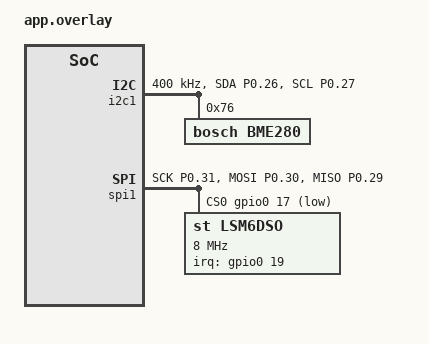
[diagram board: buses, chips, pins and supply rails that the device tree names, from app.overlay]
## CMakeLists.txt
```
# SPDX-License-Identifier: Apache-2.0
cmake_minimum_required(VERSION 3.20.0)

# Expose the custom BSP directory to Zephyr's board discovery mechanism.
# BOARD_ROOT tells west/cmake to search <BOARD_ROOT>/boards/ for board definitions.
# This allows: west build -b custom_sensor_node app
# Supported boards in this repo:
#   custom_sensor_node   — Production custom nRF52840 hardware
#   nrf52840dk_nrf52840  — Nordic DK (development fallback)
list(APPEND BOARD_ROOT ${CMAKE_CURRENT_SOURCE_DIR}/..)

# Locate Zephyr package via environment or west workspace
find_package(Zephyr REQUIRED HINTS $ENV{ZEPHYR_BASE})
project(nrf52840_ble_sensor_hub LANGUAGES C CXX)

# Target source files
target_sources(app PRIVATE
    src/main.c
    src/sensor_manager.c
    src/ble_service.c
    src/ota_manager.c
    src/crash_logger.c
    src/can_bridge.c
    ../drivers/custom_sensor_bme280.c
)

# Header search paths
target_include_directories(app PRIVATE
    ${CMAKE_CURRENT_SOURCE_DIR}/../include
    ${CMAKE_CURRENT_SOURCE_DIR}/../drivers
)

# Compiler warnings and optimization flags
target_compile_options(app PRIVATE
    -Wall
    -Wextra
    -Werror=implicit-function-declaration
    -Wno-unused-parameter
    -O2
)
```

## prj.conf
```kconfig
# ==============================================================================
# nRF52840 BLE Sensor Hub - Zephyr Kconfig Project Configuration
# Target Board: nrf52840dk_nrf52840 (Nordic Semiconductor)
# ==============================================================================

# --- System & Kernel Configuration ---
CONFIG_LOG=y
CONFIG_LOG_DEFAULT_LEVEL=3
CONFIG_LOG_BACKEND_RTT=y
CONFIG_USE_SEGGER_RTT=y
CONFIG_LOG_BACKEND_UART=n
CONFIG_ASSERT=y
CONFIG_REBOOT=y
CONFIG_HWINFO=y

# Thread and Stack Allocations
CONFIG_MAIN_STACK_SIZE=2048
CONFIG_SYSTEM_WORKQUEUE_STACK_SIZE=2048
CONFIG_IDLE_STACK_SIZE=512
CONFIG_HEAP_MEM_POOL_SIZE=4096
CONFIG_THREAD_NAME=y
CONFIG_THREAD_ANALYZER=y
CONFIG_THREAD_ANALYZER_AUTO=n

# Standard C / Printf Formatting
CONFIG_CBPRINTF_FP_SUPPORT=y
CONFIG_NEWLIB_LIBC=y

# --- Peripheral Hardware Drivers ---
CONFIG_GPIO=y
CONFIG_I2C=y
CONFIG_SPI=y
CONFIG_SENSOR=y

# Power Management (Ultra-Low-Power Optimization)
CONFIG_PM=y
CONFIG_PM_DEVICE=y

# --- Bluetooth Low Energy Subsystem ---
CONFIG_BT=y
CONFIG_BT_PERIPHERAL=y
CONFIG_BT_DEVICE_NAME="nRF52840_SensorHub"
CONFIG_BT_DEVICE_APPEARANCE=833
CONFIG_BT_MAX_CONN=1
CONFIG_BT_MAX_PAIRED=1
CONFIG_BT_SMP=y
CONFIG_BT_SIGNING=y
CONFIG_BT_GATT_CLIENT=n
CONFIG_BT_BUF_ACL_RX_SIZE=251
CONFIG_BT_BUF_ACL_TX_SIZE=251
CONFIG_BT_CTLR_DATA_LENGTH_MAX=251
CONFIG_BT_USER_PHY_UPDATE=y
CONFIG_BT_USER_DATA_LEN_UPDATE=y

# BLE Connection Parameters
CONFIG_BT_GAP_AUTO_UPDATE_CONN_PARAMS=y
CONFIG_BT_PERIPHERAL_PREF_MIN_INT=12
CONFIG_BT_PERIPHERAL_PREF_MAX_INT=40
CONFIG_BT_PERIPHERAL_PREF_LATENCY=0
CONFIG_BT_PERIPHERAL_PREF_TIMEOUT=400

# --- Flash, Storage & MCUboot DFU ---
CONFIG_FLASH=y
CONFIG_FLASH_PAGE_LAYOUT=y
CONFIG_FLASH_MAP=y
CONFIG_STREAM_FLASH=y
CONFIG_IMG_MANAGER=y
CONFIG_BOOTLOADER_MCUBOOT=y
CONFIG_MCUBOOT_IMG_MANAGER=y

# Watchdog Subsystem for Fail-Safe Supervision
CONFIG_WATCHDOG=y
CONFIG_WDT_DISABLE_AT_BOOT=n

# --- Non-Volatile Storage (NVS) for Crash Logger ---
CONFIG_NVS=y

# --- CAN Bus Subsystem ---
CONFIG_CAN=y
CONFIG_CAN_INIT_PRIORITY=80
```

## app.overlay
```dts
/*
 * SPDX-License-Identifier: Apache-2.0
 * Application Devicetree Overlay: app/app.overlay
 *
 * Target Board: custom_sensor_node (primary)
 *               nrf52840dk_nrf52840 (fallback for development kit)
 *
 * The custom_sensor_node board DTS already defines i2c1/bme280 and spi1/lsm6dso.
 * This overlay is a COMPATIBILITY layer for the nRF52840-DK dev kit only.
 *
 * When building for custom_sensor_node:
 *   west build -b custom_sensor_node app
 *   → Sensor nodes come from custom_sensor_node.dts; this overlay is a no-op.
 *
 * When building for nRF52840-DK (fallback):
 *   west build -b nrf52840dk_nrf52840 app
 *   → This overlay activates to wire the sensors onto the Arduino headers.
 */

/ {
	chosen {
		/*
		 * When using the nRF52840-DK, the RTT backend is still preferred.
		 * zephyr,console is NOT set here; RTT is selected entirely via Kconfig.
		 */
	};

	aliases {
		sensor-bme280  = &bme280;
		sensor-lsm6dso = &lsm6dso;
		led-status     = &led0;
		led-ble        = &led1;
	};
};

/* ---- Pin Control (nRF52840-DK Arduino header fallback) ----
 * Only activates when custom_sensor_node-pinctrl.dtsi is NOT already included.
 * On nRF52840-DK the pinctrl block is provided by the board DTS itself. */
&pinctrl {
	i2c1_default: i2c1_default {
		group1 {
			psels = <NRF_PSEL(TWIM_SDA, 0, 26)>,
			        <NRF_PSEL(TWIM_SCL, 0, 27)>;
			bias-pull-up;
		};
	};

	i2c1_sleep: i2c1_sleep {
		group1 {
			psels = <NRF_PSEL(TWIM_SDA, 0, 26)>,
			        <NRF_PSEL(TWIM_SCL, 0, 27)>;
			low-power-enable;
		};
	};

	spi1_default: spi1_default {
		group1 {
			psels = <NRF_PSEL(SPIM_SCK,  0, 31)>,
			        <NRF_PSEL(SPIM_MOSI, 0, 30)>;
		};
		group2 {
			psels = <NRF_PSEL(SPIM_MISO, 0, 29)>;
			bias-disable;
		};
	};

	spi1_sleep: spi1_sleep {
		group1 {
			psels = <NRF_PSEL(SPIM_SCK,  0, 31)>,
			        <NRF_PSEL(SPIM_MOSI, 0, 30)>,
			        <NRF_PSEL(SPIM_MISO, 0, 29)>;
			low-power-enable;
		};
	};
};

/* ---- I2C1 Bus with BME280 (nRF52840-DK fallback) ---- */
&i2c1 {
	status = "okay";
	compatible = "nordic,nrf-twim";
	pinctrl-0 = <&i2c1_default>;
	pinctrl-1 = <&i2c1_sleep>;
	pinctrl-names = "default", "sleep";
	clock-frequency = <I2C_BITRATE_FAST>;

	bme280: bme280@76 {
		compatible = "bosch,bme280";
		reg = <0x76>;
		status = "okay";
	};
};

/* ---- SPI1 Bus with LSM6DSO (nRF52840-DK fallback) ---- */
&spi1 {
	status = "okay";
	compatible = "nordic,nrf-spim";
	pinctrl-0 = <&spi1_default>;
	pinctrl-1 = <&spi1_sleep>;
	pinctrl-names = "default", "sleep";
	cs-gpios = <&gpio0 17 GPIO_ACTIVE_LOW>;

	lsm6dso: lsm6dso@0 {
		compatible = "st,lsm6dso";
		reg = <0>;
		spi-max-frequency = <8000000>;
		irq-gpios = <&gpio0 19 GPIO_ACTIVE_HIGH>;
		status = "okay";
	};
};
```

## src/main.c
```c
/*
 * SPDX-License-Identifier: Apache-2.0
 * Application: nRF52840 BLE Sensor Hub
 * Main firmware entry point: orchestrates threads, queues, and system supervision.
 */

#include <zephyr/kernel.h>
#include <zephyr/logging/log.h>
#include <zephyr/drivers/gpio.h>
#include <zephyr/drivers/watchdog.h>
#include "sensor_manager.h"
#include "ble_service.h"
#include "ota_manager.h"
#include "crash_logger.h"
#include "can_bridge.h"

LOG_MODULE_REGISTER(main, CONFIG_LOG_DEFAULT_LEVEL);

/* Thread Stack Allocations */
#define SENSOR_THREAD_STACK_SIZE    2048
#define BLE_THREAD_STACK_SIZE       2048
#define SUPERVISOR_THREAD_STACK_SIZE 1024

/* Thread Priorities (Lower numeric value = higher execution priority) */
#define SENSOR_THREAD_PRIORITY      5
#define BLE_THREAD_PRIORITY         6
#define SUPERVISOR_THREAD_PRIORITY  7

K_THREAD_STACK_DEFINE(sensor_stack, SENSOR_THREAD_STACK_SIZE);
K_THREAD_STACK_DEFINE(ble_stack, BLE_THREAD_STACK_SIZE);
K_THREAD_STACK_DEFINE(supervisor_stack, SUPERVISOR_THREAD_STACK_SIZE);

static struct k_thread sensor_thread_data;
static struct k_thread ble_thread_data;
static struct k_thread supervisor_thread_data;

/* Hardware Status LED (nRF52840-DK LED1 on P0.13) */
static const struct gpio_dt_spec s_led0 = GPIO_DT_SPEC_GET_OR(DT_ALIAS(led_status), gpios, {0});

/* Hardware watchdog device (10-second timeout, 5-second feed interval) */
static const struct device *s_watchdog_dev;
static int s_watchdog_channel_id;

/**
 * @brief Thread 1: High-priority periodic sensor acquisition loop.
 */
static void sensor_thread_entry(void *p1, void *p2, void *p3)
{
    ARG_UNUSED(p1);
    ARG_UNUSED(p2);
    ARG_UNUSED(p3);

    LOG_INF("Sensor Acquisition Thread started [Priority %d]", SENSOR_THREAD_PRIORITY);

    while (1) {
        /* Resume I2C and SPI buses for active sampling */
        sensor_manager_resume_buses();

        /* Perform 4 Hz sensor acquisition */
        sensor_reading_t sample;
        int rc = sensor_manager_sample_all(&sample);
        if (rc == 0) {
            LOG_DBG("Sample #%u: T=%d.%02d C, P=%u Pa, H=%u.%02d%%",
                    sample.sequence_num,
                    sample.temperature_centi_c / 100,
                    sample.temperature_centi_c % 100,
                    sample.pressure_pa,
                    sample.humidity_centi_pct / 100,
                    sample.humidity_centi_pct % 100);

            /* Publish telemetry to CAN bus */
            can_bridge_publish_telemetry(&sample);
        } else {
            LOG_WRN("Sensor sample acquisition fault (rc=%d)", rc);
        }

        /* Suspend buses to save power during idle period */
        sensor_manager_suspend_buses();

        /* Sample period: 250 ms (4 Hz update rate) */
        k_msleep(250);
    }
}

/**
 * @brief Thread 2: Event-driven BLE GATT notification dispatcher.
 * Blocks on the sensor message queue; wakes instantly on new sample.
 */
static void ble_dispatch_thread_entry(void *p1, void *p2, void *p3)
{
    ARG_UNUSED(p1);
    ARG_UNUSED(p2);
    ARG_UNUSED(p3);

    struct k_msgq *msgq = sensor_manager_get_msgq();
    sensor_reading_t reading;

    LOG_INF("BLE Dispatch Thread started [Priority %d]", BLE_THREAD_PRIORITY);

    while (1) {
        /* Pend on message queue indefinitely until new reading arrives */
        int rc = k_msgq_get(msgq, &reading, K_FOREVER);
        if (rc == 0) {
            if (ble_service_is_connected() && ble_service_notifications_enabled()) {
                int notify_rc = ble_service_notify_sensor_data(&reading);
                if (notify_rc == 0) {
                    LOG_DBG("GATT Notification pushed: seq=%u", reading.sequence_num);
                }
            }
        }
    }
}

/**
 * @brief Thread 3: Low-priority supervisory health monitor and stack analyzer.
 */
static void supervisor_thread_entry(void *p1, void *p2, void *p3)
{
    ARG_UNUSED(p1);
    ARG_UNUSED(p2);
    ARG_UNUSED(p3);

    LOG_INF("Supervisory Health Monitor Thread started [Priority %d]", SUPERVISOR_THREAD_PRIORITY);

    while (1) {
        k_sleep(K_SECONDS(5));

        /* Toggle status heartbeat LED */
        if (s_led0.port && device_is_ready(s_led0.port)) {
            gpio_pin_toggle_dt(&s_led0);
        }

        /* Feed the hardware watchdog to prevent timeout reset */
        if (s_watchdog_dev && device_is_ready(s_watchdog_dev)) {
            int rc = wdt_feed(s_watchdog_dev, s_watchdog_channel_id);
            if (rc != 0) {
                LOG_ERR("Watchdog feed failed (rc=%d)", rc);
            }
        }

        /* Check thread stack watermarks for safety */
        size_t sensor_unused = 0, ble_unused = 0;
        k_thread_stack_space_get(&sensor_thread_data, &sensor_unused);
        k_thread_stack_space_get(&ble_thread_data, &ble_unused);

        sensor_metrics_t metrics;
        sensor_manager_get_metrics(&metrics);

        LOG_INF("[HEARTBEAT] Uptime: %llu s | StackUnused: Sns=%u B, BLE=%u B | Samples: Pushed=%u Dropped=%u",
                k_uptime_get() / 1000,
                (unsigned int)sensor_unused,
                (unsigned int)ble_unused,
                metrics.samples_pushed,
                metrics.samples_dropped);
    }
}

int main(void)
{
    LOG_INF("==================================================");
    LOG_INF("  nRF52840 BLE Sensor Hub — Zephyr RTOS v3.x");
    LOG_INF("  Firmware: %s | Built: %s %s", FW_BUILD_STRING, __DATE__, __TIME__);
    LOG_INF("==================================================");

    /* 0. Initialize Crash Logger and Record Reset Reason */
    int rc = crash_logger_init();
    if (rc == 0) {
        crash_logger_record_reset_reason();
        crash_logger_dump_logs();
    } else {
        LOG_ERR("Crash logger initialization failed (rc=%d)", rc);
    }

    /* Initialize Hardware Watchdog (10-second timeout) */
    s_watchdog_dev = DEVICE_DT_GET(DT_NODELABEL(wdt0));
    if (!device_is_ready(s_watchdog_dev)) {
        LOG_ERR("Watchdog device not ready");
    } else {
        struct wdt_timeout_cfg wdt_config = {
            .window.min = 0U,
            .window.max = 10000U, /* 10 seconds */
            .callback = NULL,
            .flags = WDT_FLAG_RESET_SOC,
        };
        s_watchdog_channel_id = wdt_install_timeout(s_watchdog_dev, &wdt_config);
        if (s_watchdog_channel_id < 0) {
            LOG_ERR("Watchdog install failed (rc=%d)", s_watchdog_channel_id);
        } else {
            rc = wdt_setup(s_watchdog_dev, WDT_OPT_PAUSE_HALTED_BY_DBG);
            if (rc == 0) {
                LOG_INF("Hardware watchdog enabled: 10s timeout, 5s feed interval");
            } else {
                LOG_ERR("Watchdog setup failed (rc=%d)", rc);
            }
        }
    }

    /* Initialize Onboard Status LED */
    if (s_led0.port && device_is_ready(s_led0.port)) {
        gpio_pin_configure_dt(&s_led0, GPIO_OUTPUT_ACTIVE);
    }

    /* 1. Initialize Sensor Subsystem */
    rc = sensor_manager_init();
    if (rc < 0) {
        LOG_ERR("Fatal: Sensor subsystem initialization failed (rc=%d)", rc);
    }

    /* 2. Initialize Bluetooth LE Subsystem */
    rc = ble_service_init();
    if (rc < 0) {
        LOG_ERR("Fatal: BLE subsystem initialization failed (rc=%d)", rc);
    }

    /* 3. Initialize MCUboot OTA Manager */
    rc = ota_manager_init();
    if (rc < 0) {
        LOG_WRN("OTA manager warning (rc=%d)", rc);
    }

    /* 4. Initialize CAN Bus Telemetry Bridge */
    rc = can_bridge_init();
    if (rc < 0) {
        LOG_WRN("CAN bridge initialization failed (rc=%d), continuing without CAN", rc);
    }

    /* 5. Spawn Real-Time Operating System Threads */
    k_thread_create(&sensor_thread_data, sensor_stack,
                    K_THREAD_STACK_SIZEOF(sensor_stack),
                    sensor_thread_entry, NULL, NULL, NULL,
                    SENSOR_THREAD_PRIORITY, 0, K_NO_WAIT);
    k_thread_name_set(&sensor_thread_data, "sensor_worker");

    k_thread_create(&ble_dispatch_thread_data, ble_stack,
                    K_THREAD_STACK_SIZEOF(ble_stack),
                    ble_dispatch_thread_entry, NULL, NULL, NULL,
                    BLE_THREAD_PRIORITY, 0, K_NO_WAIT);
    k_thread_name_set(&ble_dispatch_thread_data, "ble_dispatcher");

    k_thread_create(&supervisor_thread_data, supervisor_stack,
                    K_THREAD_STACK_SIZEOF(supervisor_stack),
                    supervisor_thread_entry, NULL, NULL, NULL,
                    SUPERVISOR_THREAD_PRIORITY, 0, K_NO_WAIT);
    k_thread_name_set(&supervisor_thread_data, "supervisor");

    LOG_INF("All threads spawned successfully. Kernel scheduler in control.");
    return 0;
}
```

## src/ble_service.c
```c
/*
 * SPDX-License-Identifier: Apache-2.0
 * Implementation: ble_service.c
 * Production Custom BLE GATT Service, connection callbacks, and notification pipeline.
 */

#include "ble_service.h"
#include <zephyr/kernel.h>
#include <zephyr/bluetooth/bluetooth.h>
#include <zephyr/bluetooth/hci.h>
#include <zephyr/bluetooth/conn.h>
#include <zephyr/bluetooth/uuid.h>
#include <zephyr/bluetooth/gatt.h>
#include <zephyr/logging/log.h>

LOG_MODULE_REGISTER(ble_svc, CONFIG_LOG_DEFAULT_LEVEL);

/* Active connection handle */
static struct bt_conn *s_current_conn = NULL;
static bool s_notify_enabled = false;

/* Configurable device parameters */
static ble_sensor_config_t s_active_config = {
    .sample_interval_ms = 250,
    .enable_motion = 1,
    .tx_power_dbm = 0,
};

/* Advertising payload */
static const struct bt_data ad[] = {
    BT_DATA_BYTES(BT_DATA_FLAGS, (BT_LE_AD_GENERAL | BT_LE_AD_NO_BREDR)),
    BT_DATA(BT_DATA_NAME_COMPLETE, CONFIG_BT_DEVICE_NAME, sizeof(CONFIG_BT_DEVICE_NAME) - 1),
};

static const struct bt_data sd[] = {
    BT_DATA_BYTES(BT_DATA_UUID128_ALL, BT_UUID_SENSOR_SERVICE_VAL),
};

/* GATT Callback: CCC (Client Characteristic Configuration) Changed */
static void sensor_ccc_cfg_changed(const struct bt_gatt_attr *attr, uint16_t value)
{
    s_notify_enabled = (value == BT_GATT_CCC_NOTIFY);
    LOG_INF("Sensor Telemetry Notifications %s", s_notify_enabled ? "ENABLED" : "DISABLED");
}

/* GATT Callback: Read Sensor Data Characteristic */
static ssize_t read_sensor_data(struct bt_conn *conn,
                                const struct bt_gatt_attr *attr,
                                void *buf, uint16_t len, uint16_t offset)
{
    sensor_reading_t reading;
    int rc = sensor_manager_get_latest(&reading);
    if (rc < 0) {
        LOG_WRN("No sensor reading cached for GATT read");
        return BT_GATT_ERR(BT_ATT_ERR_UNLIKELY);
    }

    return bt_gatt_attr_read(conn, attr, buf, len, offset, &reading, sizeof(reading));
}

/* GATT Callback: Read Config */
static ssize_t read_config(struct bt_conn *conn,
                           const struct bt_gatt_attr *attr,
                           void *buf, uint16_t len, uint16_t offset)
{
    return bt_gatt_attr_read(conn, attr, buf, len, offset, &s_active_config, sizeof(s_active_config));
}

/* GATT Callback: Write Config */
static ssize_t write_config(struct bt_conn *conn,
                            const struct bt_gatt_attr *attr,
                            const void *buf, uint16_t len, uint16_t offset,
                            uint8_t flags)
{
    if (offset != 0 || len != sizeof(ble_sensor_config_t)) {
        LOG_WRN("Invalid config write payload size: len=%u offset=%u", len, offset);
        return BT_GATT_ERR(BT_ATT_ERR_INVALID_ATTRIBUTE_LEN);
    }

    const ble_sensor_config_t *new_cfg = (const ble_sensor_config_t *)buf;
    if (new_cfg->sample_interval_ms < 50 || new_cfg->sample_interval_ms > 10000) {
        LOG_WRN("Rejected invalid sampling rate: %u ms", new_cfg->sample_interval_ms);
        return BT_GATT_ERR(BT_ATT_ERR_VALUE_NOT_ALLOWED);
    }

    s_active_config = *new_cfg;
    LOG_INF("Updated configuration: interval=%u ms, motion=%u, tx_power=%d dBm",
            s_active_config.sample_interval_ms,
            s_active_config.enable_motion,
            s_active_config.tx_power_dbm);

    return len;
}

/* GATT Callback: Read Status string */
static ssize_t read_status(struct bt_conn *conn,
                           const struct bt_gatt_attr *attr,
                           void *buf, uint16_t len, uint16_t offset)
{
    static const char status_str[] = "FW:v1.0.0-prod | HW:nRF52840-DK | State:NOMINAL";
    return bt_gatt_attr_read(conn, attr, buf, len, offset, status_str, sizeof(status_str) - 1);
}

/* Custom GATT Service Declaration */
BT_GATT_SERVICE_DEFINE(sensor_hub_svc,
    BT_GATT_PRIMARY_SERVICE(BT_UUID_SENSOR_SERVICE),

    /* 1. Sensor Telemetry Characteristic (Read, Notify) */
    BT_GATT_CHARACTERISTIC(BT_UUID_SENSOR_DATA_CHAR,
                           BT_GATT_CHRC_READ | BT_GATT_CHRC_NOTIFY,
                           BT_GATT_PERM_READ,
                           read_sensor_data, NULL, NULL),
    BT_GATT_CCC(sensor_ccc_cfg_changed,
                BT_GATT_PERM_READ | BT_GATT_PERM_WRITE),

    /* 2. Sensor Configuration Characteristic (Read, Write) */
    BT_GATT_CHARACTERISTIC(BT_UUID_SENSOR_CONFIG_CHAR,
                           BT_GATT_CHRC_READ | BT_GATT_CHRC_WRITE,
                           BT_GATT_PERM_READ | BT_GATT_PERM_WRITE,
                           read_config, write_config, &s_active_config),

    /* 3. System Status / Device Diagnostics (Read) */
    BT_GATT_CHARACTERISTIC(BT_UUID_SENSOR_STATUS_CHAR,
                           BT_GATT_CHRC_READ,
                           BT_GATT_PERM_READ,
                           read_status, NULL, NULL),
);

/* Connection Lifecycle Callbacks */
static void connected_cb(struct bt_conn *conn, uint8_t err)
{
    if (err) {
        LOG_ERR("BLE Connection attempt failed: %u", err);
        return;
    }

    s_current_conn = bt_conn_ref(conn);
    char addr[BT_ADDR_LE_STR_LEN];
    bt_addr_le_to_str(bt_conn_get_dst(conn), addr, sizeof(addr));
    LOG_INF("BLE Client Connected: %s", addr);

    /* Negotiate high-throughput connection parameters (7.5ms min, 15ms max) */
    struct bt_le_conn_param param = {
        .interval_min = 12, /* 15 ms */
        .interval_max = 24, /* 30 ms */
        .latency = 0,
        .timeout = 400,     /* 4000 ms */
    };
    int rc = bt_conn_le_param_update(conn, &param);
    if (rc && rc != -EALREADY) {
        LOG_WRN("Failed to request connection param update: %d", rc);
    }
}

static void disconnected_cb(struct bt_conn *conn, uint8_t reason)
{
    char addr[BT_ADDR_LE_STR_LEN];
    bt_addr_le_to_str(bt_conn_get_dst(conn), addr, sizeof(addr));
    LOG_INF("BLE Client Disconnected: %s (reason: 0x%02X)", addr, reason);

    if (s_current_conn) {
        bt_conn_unref(s_current_conn);
        s_current_conn = NULL;
    }
    s_notify_enabled = false;

    /* Resume Advertising */
    int rc = bt_le_adv_start(BT_LE_ADV_CONN, ad, ARRAY_SIZE(ad), sd, ARRAY_SIZE(sd));
    if (rc) {
        LOG_ERR("Advertising restart failed: %d", rc);
    } else {
        LOG_INF("Advertising restarted successfully");
    }
}

static struct bt_conn_cb conn_callbacks = {
    .connected = connected_cb,
    .disconnected = disconnected_cb,
};

int ble_service_init(void)
{
    LOG_INF("Initializing Bluetooth LE subsystem...");

    bt_conn_cb_register(&conn_callbacks);

    int rc = bt_enable(NULL);
    if (rc) {
        LOG_ERR("Bluetooth initialization failed: %d", rc);
        return rc;
    }

    LOG_INF("Bluetooth initialized successfully");

    rc = bt_le_adv_start(BT_LE_ADV_CONN, ad, ARRAY_SIZE(ad), sd, ARRAY_SIZE(sd));
    if (rc) {
        LOG_ERR("Advertising start failed: %d", rc);
        return rc;
    }

    LOG_INF("BLE Advertising active as '%s'", CONFIG_BT_DEVICE_NAME);
    return 0;
}

int ble_service_notify_sensor_data(const sensor_reading_t *reading)
{
    if (!s_current_conn) {
        return -ENOTCONN;
    }
    if (!s_notify_enabled) {
        return -EACCES;
    }

    /* Index 2 is the value attribute of the first characteristic in sensor_hub_svc */
    int rc = bt_gatt_notify(s_current_conn, &sensor_hub_svc.attrs[2], reading, sizeof(*reading));
    if (rc) {
        LOG_WRN("Failed to notify sensor sample (rc=%d)", rc);
        return rc;
    }

    return 0;
}

bool ble_service_is_connected(void)
{
    return (s_current_conn != NULL);
}

bool ble_service_notifications_enabled(void)
{
    return s_notify_enabled;
}
```

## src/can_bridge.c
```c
/*
 * SPDX-License-Identifier: Apache-2.0
 * Implementation: can_bridge.c
 * Industrial CAN bus telemetry bridge for real-time sensor data broadcasting.
 *
 * Publishes sensor telemetry over CAN 2.0B standard frames (11-bit IDs) at 4 Hz.
 * Three frames are transmitted per sensor sample cycle:
 *   - 0x110 (DLC 8): Environmental data (temperature, humidity, pressure)
 *   - 0x111 (DLC 6): Accelerometer XYZ (milli-g)
 *   - 0x112 (DLC 6): Gyroscope XYZ (milli-degrees per second)
 */

#include <zephyr/kernel.h>
#include <zephyr/drivers/can.h>
#include <zephyr/logging/log.h>
#include "can_bridge.h"

LOG_MODULE_REGISTER(can_bridge, CONFIG_LOG_DEFAULT_LEVEL);

/* CAN Frame Identifiers (11-bit Standard IDs) */
#define CAN_ID_ENVIRONMENTAL  0x110  /* Temperature, Humidity, Pressure */
#define CAN_ID_ACCELEROMETER  0x111  /* Accel X, Y, Z */
#define CAN_ID_GYROSCOPE      0x112  /* Gyro X, Y, Z */

/* CAN Device from Devicetree */
#if DT_NODE_EXISTS(DT_NODELABEL(can0))
static const struct device *const s_can_dev = DEVICE_DT_GET(DT_NODELABEL(can0));
#elif DT_NODE_EXISTS(DT_CHOSEN(zephyr_canbus))
static const struct device *const s_can_dev = DEVICE_DT_GET(DT_CHOSEN(zephyr_canbus));
#else
static const struct device *const s_can_dev = NULL;
#warning "No CAN controller found in devicetree (can0 or zephyr,canbus). CAN bridge disabled."
#endif

static bool s_can_initialized = false;

int can_bridge_init(void)
{
	if (s_can_dev == NULL) {
		LOG_WRN("CAN bridge: No CAN controller in devicetree, bridge disabled");
		return -ENODEV;
	}

	if (!device_is_ready(s_can_dev)) {
		LOG_ERR("CAN bridge: Device %s not ready", s_can_dev->name);
		return -ENODEV;
	}

	/* Start CAN controller (required before can_send) */
	int rc = can_start(s_can_dev);
	if (rc != 0 && rc != -EALREADY) {
		LOG_ERR("CAN bridge: Failed to start controller (rc=%d)", rc);
		return rc;
	}

	s_can_initialized = true;
	LOG_INF("CAN bridge initialized on device: %s", s_can_dev->name);
	return 0;
}

int can_bridge_publish_telemetry(const sensor_reading_t *reading)
{
	if (!s_can_initialized || s_can_dev == NULL) {
		LOG_DBG("CAN bridge: Not initialized, skipping telemetry publish");
		return -ENODEV;
	}

	if (reading == NULL) {
		return -EINVAL;
	}

	int rc;
	struct can_frame frame;

	/* ========================================================================
	 * Frame 1 (0x110): Environmental Data
	 * DLC=8, little-endian packing
	 * [0-1]: Temperature (int16_t, 0.01°C) = temperature_centi_c
	 * [2-3]: Humidity (uint16_t, 0.01% RH) = humidity_centi_pct
	 * [4-7]: Pressure (uint32_t, Pa) = pressure_pa
	 * ======================================================================== */
	frame.id = CAN_ID_ENVIRONMENTAL;
	frame.flags = 0;  /* Standard 11-bit ID, data frame */
	frame.dlc = 8;

	int16_t temp = (int16_t)reading->temperature_centi_c;
	uint16_t hum = (uint16_t)reading->humidity_centi_pct;
	uint32_t press = reading->pressure_pa;

	frame.data[0] = (uint8_t)(temp & 0xFF);
	frame.data[1] = (uint8_t)((temp >> 8) & 0xFF);
	frame.data[2] = (uint8_t)(hum & 0xFF);
	frame.data[3] = (uint8_t)((hum >> 8) & 0xFF);
	frame.data[4] = (uint8_t)(press & 0xFF);
	frame.data[5] = (uint8_t)((press >> 8) & 0xFF);
	frame.data[6] = (uint8_t)((press >> 16) & 0xFF);
	frame.data[7] = (uint8_t)((press >> 24) & 0xFF);

	rc = can_send(s_can_dev, &frame, K_MSEC(100), NULL, NULL);
	if (rc != 0) {
		LOG_WRN("CAN bridge: Failed to send environmental frame (rc=%d)", rc);
		return rc;
	}

	/* ========================================================================
	 * Frame 2 (0x111): Accelerometer Data
	 * DLC=6, little-endian packing
	 * [0-1]: Accel X (int16_t, mg)
	 * [2-3]: Accel Y (int16_t, mg)
	 * [4-5]: Accel Z (int16_t, mg)
	 * ======================================================================== */
	frame.id = CAN_ID_ACCELEROMETER;
	frame.flags = 0;
	frame.dlc = 6;

	int16_t accel_x = reading->accel_x_mg;
	int16_t accel_y = reading->accel_y_mg;
	int16_t accel_z = reading->accel_z_mg;

	frame.data[0] = (uint8_t)(accel_x & 0xFF);
	frame.data[1] = (uint8_t)((accel_x >> 8) & 0xFF);
	frame.data[2] = (uint8_t)(accel_y & 0xFF);
	frame.data[3] = (uint8_t)((accel_y >> 8) & 0xFF);
	frame.data[4] = (uint8_t)(accel_z & 0xFF);
	frame.data[5] = (uint8_t)((accel_z >> 8) & 0xFF);

	rc = can_send(s_can_dev, &frame, K_MSEC(100), NULL, NULL);
	if (rc != 0) {
		LOG_WRN("CAN bridge: Failed to send accelerometer frame (rc=%d)", rc);
		return rc;
	}

	/* ========================================================================
	 * Frame 3 (0x112): Gyroscope Data
	 * DLC=6, little-endian packing
	 * [0-1]: Gyro X (int16_t, mdps)
	 * [2-3]: Gyro Y (int16_t, mdps)
	 * [4-5]: Gyro Z (int16_t, mdps)
	 * ======================================================================== */
	frame.id = CAN_ID_GYROSCOPE;
	frame.flags = 0;
	frame.dlc = 6;

	int16_t gyro_x = reading->gyro_x_mdps;
	int16_t gyro_y = reading->gyro_y_mdps;
	int16_t gyro_z = reading->gyro_z_mdps;

	frame.data[0] = (uint8_t)(gyro_x & 0xFF);
	frame.data[1] = (uint8_t)((gyro_x >> 8) & 0xFF);
	frame.data[2] = (uint8_t)(gyro_y & 0xFF);
	frame.data[3] = (uint8_t)((gyro_y >> 8) & 0xFF);
	frame.data[4] = (uint8_t)(gyro_z & 0xFF);
	frame.data[5] = (uint8_t)((gyro_z >> 8) & 0xFF);

	rc = can_send(s_can_dev, &frame, K_MSEC(100), NULL, NULL);
	if (rc != 0) {
		LOG_WRN("CAN bridge: Failed to send gyroscope frame (rc=%d)", rc);
		return rc;
	}

	LOG_DBG("CAN bridge: Published 3 telemetry frames (0x110, 0x111, 0x112)");
	return 0;
}
```

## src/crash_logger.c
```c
/*
 * SPDX-License-Identifier: Apache-2.0
 * Application: nRF52840 BLE Sensor Hub
 * File: crash_logger.c
 *
 * NVS-based crash and reset event recorder for the custom_sensor_node board.
 *
 * Uses Zephyr's Non-Volatile Storage driver (zephyr/fs/nvs.h) to persist
 * reset reasons, boot counts, and execution breadcrumbs across power cycles
 * and watchdog-triggered hard resets. Reads the hardware reset cause
 * (hwinfo_get_reset_cause) on boot and records it in NVS namespace "crash_log"
 * for post-mortem diagnostics via the RTT console.
 *
 * Storage layout (NVS namespace "crash_log"):
 *   Key 1 (NVS_KEY_CRASH_COUNT)       : uint32_t — cumulative abnormal reset count
 *   Key 2 (NVS_KEY_LAST_RESET_REASON) : uint32_t — reset-cause bitmask
 *   Key 3 (NVS_KEY_BOOT_COUNT)        : uint32_t — total boots (normal + abnormal)
 *   Key 4 (NVS_KEY_BREADCRUMB_0)      : char[BREADCRUMB_MAX_LEN] — newest crumb
 *   Key 5 (NVS_KEY_BREADCRUMB_1)      : char[BREADCRUMB_MAX_LEN] — one older
 *   Key 6 (NVS_KEY_BREADCRUMB_2)      : char[BREADCRUMB_MAX_LEN] — oldest
 */

#define MODULE_NAME crash_logger
#include <zephyr/logging/log.h>
LOG_MODULE_REGISTER(crash_logger, CONFIG_LOG_DEFAULT_LEVEL);

#include <zephyr/kernel.h>
#include <zephyr/fs/nvs.h>
#include <zephyr/drivers/hwinfo.h>
#include <zephyr/drivers/flash.h>
#include <zephyr/storage/flash_map.h>
#include <stdint.h>
#include <string.h>
#include "crash_logger.h"

/*
 * NVS key identifiers. The NVS filesystem stores entries in a fixed-size
 * lookup table keyed by 16-bit identifiers. We use descriptive keys so that
 * data written by this module can be inspected or cleared independently of
 * other subsystems (e.g. BLE bonding keys in the same storage_partition).
 */
#define NVS_KEY_BOOT_COUNT        1
#define NVS_KEY_CRASH_COUNT       2
#define NVS_KEY_LAST_RESET_REASON 3
#define NVS_KEY_BREADCRUMB_0      4
#define NVS_KEY_BREADCRUMB_1      5
#define NVS_KEY_BREADCRUMB_2      6

/*
 * NVS mounts on a named partition. The board device tree labels the 64-KB
 * storage region "storage_partition"; the mount string must match that label.
 *
 * On nRF52840 the default nvs sector size is 4096 bytes and lookup cache is
 * limited to 8 entries. These values are safe for a 64-KB partition with a
 * 24-entry lookup table, and must not exceed flash page size for the
 * underlying flash device (nrf52840_qiaa uses 4-KB flash pages).
 */
#define NVS_MOUNT_LABEL "storage_partition"
#define NVS_SECTOR_SIZE 4096
#define NVS_LOOKUP_SIZE 24

static struct nvs_fs nvs_fs;
static k_mutex_t nvs_lock;

/* Rolling breadcrumb ring buffer (3 entries, circular) */
static char breadcrumb_ring[BREADCRUMB_SLOTS][BREADCRUMB_MAX_LEN];
static uint8_t breadcrumb_head;

/* Persistent boot-info snapshot populated at init time */
static crash_boot_info_t boot_info;

/**
 * @brief Open an exclusive handle to the NVS filesystem.
 *
 * The NVS driver serializes access with its own internal mutex, but the
 * application-level lock below guarantees that a read-modify-write sequence
 * (crash count / breadcrumb) is atomic with respect to other NVS users.
 */
static int nvs_lock_open(void)
{
	int rc;

	rc = k_mutex_lock(&nvs_lock, K_FOREVER);
	if (rc != 0) {
		LOG_ERR("nvs: failed to lock mutex (rc=%d)", rc);
		return rc;
	}

	rc = nvs_mount(&nvs_fs);
	if (rc != 0) {
		LOG_ERR("nvs: mount failed (rc=%d)", rc);
	}

	return rc;
}

static void nvs_lock_close(void)
{
	k_mutex_unlock(&nvs_lock);
}

/**
 * @brief Helper: write a uint32_t to NVS.
 */
static int nvs_write_u32(uint16_t key, uint32_t value)
{
	int rc = nvs_lock_open();
	if (rc != 0) {
		return rc;
	}

	ssize_t written = nvs_write(&nvs_fs, key, &value, sizeof(value));
	nvs_lock_close();

	if (written < (ssize_t)sizeof(value)) {
		LOG_WRN("nvs: u32 write failed (rc=%zd)", written);
		return -EIO;
	}
	return 0;
}

/**
 * @brief Helper: read a uint32_t from NVS.
 */
static int nvs_read_u32(uint16_t key, uint32_t *value)
{
	int rc = nvs_lock_open();
	if (rc != 0) {
		return rc;
	}

	ssize_t read_bytes = nvs_read(&nvs_fs, key, value, sizeof(*value));
	nvs_lock_close();

	if (read_bytes < (ssize_t)sizeof(*value)) {
		*value = 0; /* Blank NVS => treat as zero */
	}
	return 0;
}

/**
 * @brief Helper: write a breadcrumb string to NVS.
 */
static int nvs_write_breadcrumb(uint16_t key, const char *crumb)
{
	int rc = nvs_lock_open();
	if (rc != 0) {
		return rc;
	}

	ssize_t written = nvs_write(&nvs_fs, key, crumb,
				    strlen(crumb) + 1);
	nvs_lock_close();

	if (written < (ssize_t)(strlen(crumb) + 1)) {
		LOG_WRN("nvs: breadcrumb write failed (rc=%zd)", written);
		return -EIO;
	}
	return 0;
}

/**
 * @brief Helper: read a breadcrumb string from NVS.
 */
static int nvs_read_breadcrumb(uint16_t key, char *buffer, size_t len)
{
	int rc = nvs_lock_open();
	if (rc != 0) {
		return rc;
	}

	ssize_t read_bytes = nvs_read(&nvs_fs, key, buffer, len - 1);
	nvs_lock_close();

	if (read_bytes <= 0) {
		buffer[0] = '\0';
		return -ENOENT;
	}

	buffer[MIN((size_t)read_bytes, len - 1)] = '\0';
	return 0;
}

/**
 * @brief Determine whether the last reset was abnormal.
 *
 * A reset is abnormal if any of the following cause bits is set in the
 * hardware reset-cause register:
 *   - RESET_WATCHDOG : watchdog expired
 *   - RESET_CPU_LOCKUP : HardFault (non-recovering CPU lockup)
 *   - RESET_PIN : external pin reset (usually a forced recovery)
 *   - RESET_HARDWARE : hardware reset event
 *   - RESET_SOFTWARE : explicit sys_reboot() call
 *
 * Power-on reset (RESET_POR) and low-power wake (RESET_LOW_POWER_WAKE) are
 * normal boots and do not count as crashes.
 */
static bool is_abnormal_reset(uint32_t raw_cause)
{
	return (raw_cause & (RESET_WATCHDOG | RESET_CPU_LOCKUP | RESET_PIN |
			     RESET_HARDWARE | RESET_SOFTWARE)) != 0;
}

int crash_logger_init(void)
{
	int rc;
	struct flash_pages_info info;

	/* Initialize NVS subsystem on storage_partition. */
	k_mutex_init(&nvs_lock);

	/* Get the flash device from the storage_partition devicetree node */
	nvs_fs.flash_device = FIXED_PARTITION_DEVICE(storage_partition);
	if (!device_is_ready(nvs_fs.flash_device)) {
		LOG_ERR("crash_logger: Flash device %s not ready",
			nvs_fs.flash_device->name);
		return -ENODEV;
	}

	nvs_fs.offset = FIXED_PARTITION_OFFSET(storage_partition);
	nvs_fs.sector_size = NVS_SECTOR_SIZE;
	/* The storage_partition is 64 KB, so 64 KB / 4096 B = 16 sectors. */
	nvs_fs.sector_count = 16;

	/* Get the flash page info and verify sector size */
	rc = flash_get_page_info_by_offs(nvs_fs.flash_device, nvs_fs.offset, &info);
	if (rc == 0) {
		nvs_fs.sector_size = info.size;
		nvs_fs.sector_count = FIXED_PARTITION_SIZE(storage_partition) / info.size;
	}

	rc = nvs_lock_open();
	if (rc != 0) {
		LOG_ERR("crash_logger: NVS init failed (rc=%d)", rc);
		return rc;
	}

	/* Read the raw reset-cause bits from the SoC hardware register. */
	uint32_t raw_cause = 0;
	rc = hwinfo_get_reset_cause(&raw_cause);
	if (rc != 0) {
		LOG_WRN("crash_logger: hwinfo_get_reset_cause failed (rc=%d)", rc);
		nvs_lock_close();
		return rc;
	}

	/*
	 * hwinfo_get_reset_cause() returns bits accumulated since power-on.
	 * For meaningful diagnostics of the *current* boot we clear the register
	 * immediately after reading so the next boot reports only the new cause.
	 */
	(void)hwinfo_clear_reset_cause();

	/*
	 * Fetch the previously stored boot count and crash count. If NVS was
	 * blank (flash erased / first boot), both values read back as 0,
	 * meaning this is the first boot and crash_count is correctly 0.
	 */
	uint32_t prev_crash_count = 0;
	uint32_t prev_boot_count = 0;

	nvs_read_u32(NVS_KEY_BOOT_COUNT, &prev_boot_count);
	nvs_read_u32(NVS_KEY_CRASH_COUNT, &prev_crash_count);

	uint32_t new_crash_count = prev_crash_count;
	uint32_t new_boot_count = prev_boot_count + 1;

	/* Increment the crash counter only for abnormal resets. */
	if (is_abnormal_reset(raw_cause)) {
		new_crash_count = prev_crash_count + 1;
	}

	/* Persist the new counters and the current reset reason. */
	nvs_write_u32(NVS_KEY_BOOT_COUNT, new_boot_count);
	nvs_write_u32(NVS_KEY_CRASH_COUNT, new_crash_count);
	nvs_write_u32(NVS_KEY_LAST_RESET_REASON, raw_cause);

	/* Populate the boot-info snapshot for the application. */
	boot_info.raw_reset_reason = raw_cause;
	boot_info.crash_count = new_crash_count;
	boot_info.boot_count = new_boot_count;
	boot_info.is_watchdog_reset = (raw_cause & RESET_WATCHDOG) != 0;
	boot_info.is_first_boot = (prev_boot_count == 0 && prev_crash_count == 0);

	nvs_lock_close();

	if (boot_info.is_first_boot) {
		LOG_INF("crash_logger: first boot (NVS was blank)");
	} else {
		LOG_INF("crash_logger: boot %u, crash count %u, reset cause 0x%08X",
			new_boot_count, new_crash_count, raw_cause);
	}

	return 0;
}

void crash_logger_store_breadcrumb(const char *crumb)
{
	if (crumb == NULL) {
		return;
	}

	size_t len = strlen(crumb);
	if (len >= BREADCRUMB_MAX_LEN) {
		len = BREADCRUMB_MAX_LEN - 1;
	}

	char temp[BREADCRUMB_MAX_LEN];
	memcpy(temp, crumb, len);
	temp[len] = '\0';

	/* Circular buffer: push newest to breadcrumb_head, shift the rest down. */
	for (int i = 0; i < BREADCRUMB_SLOTS; i++) {
		if (i == (int)breadcrumb_head) {
			memcpy(breadcrumb_ring[i], temp, sizeof(breadcrumb_ring[i]));
		} else {
			memcpy(breadcrumb_ring[i], breadcrumb_ring[(i + 1) % BREADCRUMB_SLOTS],
			       sizeof(breadcrumb_ring[i]));
		}
	}
	breadcrumb_head = (breadcrumb_head + 1) % BREADCRUMB_SLOTS;

	(void)nvs_write_breadcrumb(NVS_KEY_BREADCRUMB_0, breadcrumb_ring[0]);
	(void)nvs_write_breadcrumb(NVS_KEY_BREADCRUMB_1, breadcrumb_ring[1]);
	(void)nvs_write_breadcrumb(NVS_KEY_BREADCRUMB_2, breadcrumb_ring[2]);

	LOG_DBG("crash_logger: breadcrumb stored [%s]", temp);
}

const crash_boot_info_t *crash_logger_get_boot_info(void)
{
	return &boot_info;
}

void crash_logger_record_reset_reason(void)
{
	/* This function is now handled in crash_logger_init() */
	/* Kept for API compatibility - does nothing as recording happens at init */
}

void crash_logger_dump_logs(void)
{
	const crash_boot_info_t *info = crash_logger_get_boot_info();
	if (info == NULL) {
		LOG_WRN("crash_logger: no boot info available");
		return;
	}

	/*
	 * Decode the raw reset-cause bitmask into human-readable flag names.
	 * Multiple bits may be set simultaneously.
	 */
	const char *flags[] = { "PIN", "SOFTWARE", "BROWNOUT", "POR", "WATCHDOG",
				"DEBUG", "SECURITY", "LOW_POWER_WAKE", "CPU_LOCKUP",
				"PARITY", "PLL", "CLOCK", "HARDWARE", "USER",
				"TEMPERATURE" };
	char reason[128] = "";
	size_t reason_len = 0;

	for (int i = 0; i < 15; i++) {
		if (info->raw_reset_reason & BIT(i)) {
			size_t flen = strlen(flags[i]);
			if (reason_len + flen + 2 < sizeof(reason)) {
				if (reason_len > 0) {
					reason[reason_len++] = '|';
				}
				memcpy(reason + reason_len, flags[i], flen);
				reason_len += flen;
			}
		}
	}

	LOG_INF("==================================================");
	LOG_INF("  RESET / CRASH HISTORY");
	LOG_INF("==================================================");
	LOG_INF("  Boot count      : %u", info->boot_count);
	LOG_INF("  Crash count     : %u", info->crash_count);
	LOG_INF("  Last reset cause: 0x%08X (%s)",
		info->raw_reset_reason,
		reason[0] != '\0' ? reason : "NONE (POR / normal boot)");
	LOG_INF("  Watchdog reset  : %s",
		info->is_watchdog_reset ? "yes" : "no");
	LOG_INF("  First boot      : %s",
		info->is_first_boot ? "yes" : "no");

	/* Rolling breadcrumbs from latest-to-oldest. */
	for (int i = 0; i < BREADCRUMB_SLOTS; i++) {
		char crumb[BREADCRUMB_MAX_LEN];
		int rc = nvs_read_breadcrumb(NVS_KEY_BREADCRUMB_0 + i, crumb, sizeof(crumb));
		if (rc == 0) {
			LOG_INF("  Breadcrumb %d     : %s", i, crumb);
		}
	}
	LOG_INF("==================================================");
}

int crash_logger_clear_all(void)
{
	/*
	 * Keys are namespace-scoped to "crash_log" by our naming convention,
	 * so writing zeros/empty strings clears only crash-logger data.
	 */
	int rc = nvs_lock_open();
	if (rc != 0) {
		return rc;
	}

	/* Reset counters to zero. */
	nvs_write_u32(NVS_KEY_BOOT_COUNT, 0);
	nvs_write_u32(NVS_KEY_CRASH_COUNT, 0);
	nvs_write_u32(NVS_KEY_LAST_RESET_REASON, 0);

	/* Remove all breadcrumbs (write empty string to delete each entry). */
	for (uint8_t i = 0; i < BREADCRUMB_SLOTS; i++) {
		nvs_write(&nvs_fs, NVS_KEY_BREADCRUMB_0 + i, "", 1);
	}

	nvs_lock_close();

	return 0;
}

int crash_logger_decode_reset_reason(char *buffer, size_t len)
{
	const crash_boot_info_t *info = crash_logger_get_boot_info();
	if (info == NULL || buffer == NULL || len < 2) {
		return -EINVAL;
	}

	if (info->raw_reset_reason == 0) {
		return -ENOENT;
	}

	const char *flags[] = { "PIN", "SOFTWARE", "BROWNOUT", "POR", "WATCHDOG",
				"DEBUG", "SECURITY", "LOW_POWER_WAKE", "CPU_LOCKUP",
				"PARITY", "PLL", "CLOCK", "HARDWARE", "USER",
				"TEMPERATURE" };
	size_t offset = 0;

	for (int i = 0; i < 15; i++) {
		if (info->raw_reset_reason & BIT(i)) {
			size_t flen = strlen(flags[i]);
			if (offset + flen + 2 < len) {
				if (offset > 0) {
					buffer[offset++] = '|';
				}
				memcpy(buffer + offset, flags[i], flen);
				offset += flen;
			}
		}
	}
	buffer[offset] = '\0';

	return 0;
}
```

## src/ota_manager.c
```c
/*
 * SPDX-License-Identifier: Apache-2.0
 * Implementation: ota_manager.c
 * Manages MCUboot DFU lifecycle, self-test verification, and permanent slot confirmation.
 */

#include "ota_manager.h"
#include <zephyr/kernel.h>
#include <zephyr/logging/log.h>
#include <zephyr/dfu/mcuboot.h>
#include <zephyr/storage/flash_map.h>

LOG_MODULE_REGISTER(ota_mgr, CONFIG_LOG_DEFAULT_LEVEL);

static bool s_is_confirmed = false;
static struct k_work_delayable s_confirm_work;

/* Work handler executed after successful burn-in period */
static void confirm_work_handler(struct k_work *work)
{
    LOG_INF("Self-test burn-in passed. Confirming MCUboot firmware image...");
    int rc = ota_manager_confirm_image();
    if (rc == 0) {
        LOG_INF("Firmware image successfully marked as PERMANENT in primary slot");
    } else {
        LOG_ERR("Failed to confirm firmware image (rc=%d)", rc);
    }
}

int ota_manager_init(void)
{
    LOG_INF("Initializing MCUboot DFU Manager (Build: %s)...", FW_BUILD_STRING);

#if defined(CONFIG_BOOTLOADER_MCUBOOT)
    if (boot_is_img_confirmed()) {
        s_is_confirmed = true;
        LOG_INF("Image is already permanently confirmed");
    } else {
        s_is_confirmed = false;
        LOG_WRN("Running in TEST / PROVISIONAL mode! Must pass self-test within 10s or rollback.");

        /* Schedule confirmation after 10 seconds of error-free operation */
        k_work_init_delayable(&s_confirm_work, confirm_work_handler);
        k_work_schedule(&s_confirm_work, K_SECONDS(10));
    }
#else
    LOG_INF("Running without MCUboot bootloader partition support (standalone)");
    s_is_confirmed = true;
#endif

    ota_manager_log_system_info();
    return 0;
}

int ota_manager_confirm_image(void)
{
#if defined(CONFIG_BOOTLOADER_MCUBOOT)
    int rc = boot_write_img_confirmed();
    if (rc == 0) {
        s_is_confirmed = true;
        return 0;
    }
    return rc;
#else
    s_is_confirmed = true;
    return 0;
#endif
}

bool ota_manager_is_image_confirmed(void)
{
    return s_is_confirmed;
}

void ota_manager_log_system_info(void)
{
    LOG_INF("================ SYSTEM PARTITION MAP ================");
#if FIXED_PARTITION_EXISTS(boot_partition)
    LOG_INF("Slot Boot     : Offset=0x%08lx, Size=0x%08lx",
            (long)FIXED_PARTITION_OFFSET(boot_partition),
            (long)FIXED_PARTITION_SIZE(boot_partition));
#endif
#if FIXED_PARTITION_EXISTS(slot0_partition)
    LOG_INF("Slot 0 (Active): Offset=0x%08lx, Size=0x%08lx",
            (long)FIXED_PARTITION_OFFSET(slot0_partition),
            (long)FIXED_PARTITION_SIZE(slot0_partition));
#endif
#if FIXED_PARTITION_EXISTS(slot1_partition)
    LOG_INF("Slot 1 (Candidate): Offset=0x%08lx, Size=0x%08lx",
            (long)FIXED_PARTITION_OFFSET(slot1_partition),
            (long)FIXED_PARTITION_SIZE(slot1_partition));
#endif
#if FIXED_PARTITION_EXISTS(storage_partition)
    LOG_INF("Slot Storage  : Offset=0x%08lx, Size=0x%08lx",
            (long)FIXED_PARTITION_OFFSET(storage_partition),
            (long)FIXED_PARTITION_SIZE(storage_partition));
#endif
    LOG_INF("======================================================");
}
```
